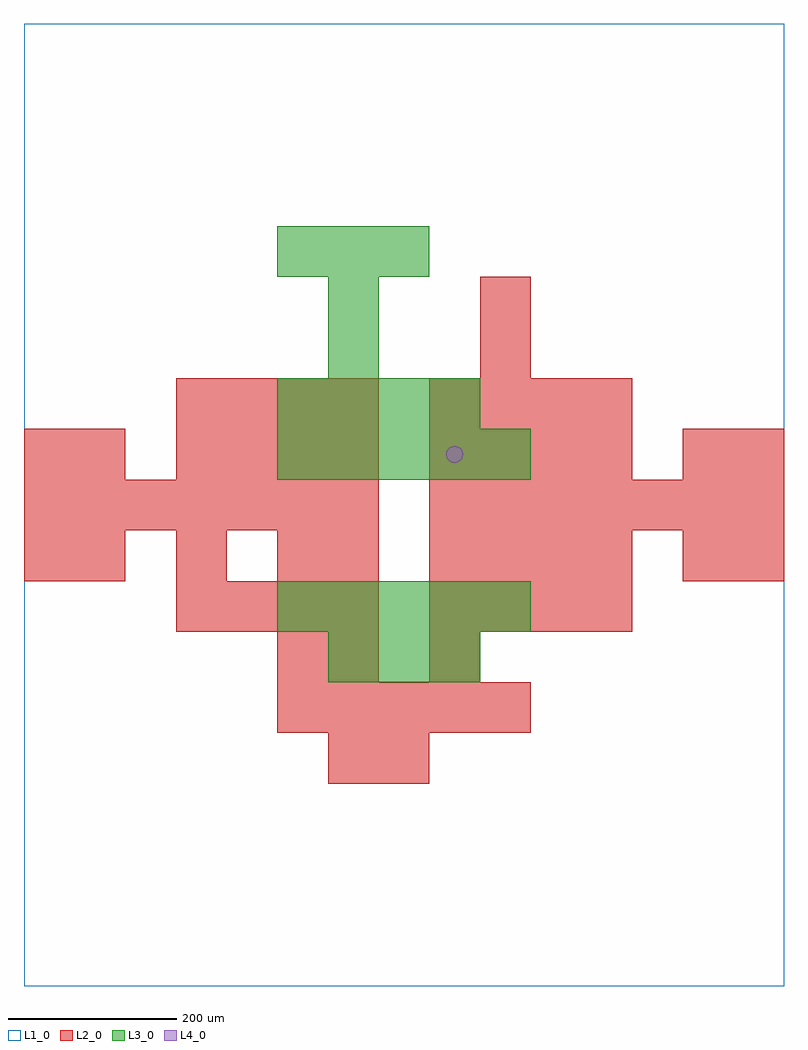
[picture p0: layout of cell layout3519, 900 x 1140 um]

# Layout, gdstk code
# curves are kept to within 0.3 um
import gdstk
lib = gdstk.Library(unit=1e-6, precision=1e-09)
def R(c, l, rs):  # rectangles x0, y0, x1, y1
    for r in rs: c.add(gdstk.rectangle(r[:2], r[2:], *l))
def A(c, l, x, y, w, h, nx, ny, dx, dy):  # array of equal rectangles
    R(c, l, [(x+i*dx, y+j*dy, x+i*dx+w, y+j*dy+h) for i in range(nx) for j in range(ny)])
def P(c, l, *ps):  # polygons
    for p in ps: c.add(gdstk.Polygon(p, *l))
L1_0 = (1, 0)
L2_0 = (2, 0)
L3_0 = (3, 0)
L4_0 = (4, 0)

layout3519 = lib.new_cell('layout3519')
R(layout3519, L1_0, [(0,0,900,1140)])
A(layout3519, L2_0, 360, 240, 60, 60, 1, 3, 0, 120)
A(layout3519, L2_0, 300, 300, 60, 60, 5, 1, 60, 0)
A(layout3519, L2_0, 180, 420, 60, 60, 4, 2, 60, 180)
A(layout3519, L2_0, 480, 420, 60, 60, 4, 2, 60, 60)
A(layout3519, L2_0, 60, 480, 60, 60, 3, 1, 120, 0)
A(layout3519, L2_0, 0, 540, 60, 60, 7, 1, 60, 0)
A(layout3519, L2_0, 480, 540, 60, 60, 7, 1, 60, 0)
A(layout3519, L2_0, 480, 600, 60, 60, 4, 2, 60, 60)
A(layout3519, L2_0, 180, 660, 60, 60, 4, 1, 60, 0)
R(layout3519, L2_0, [(420,240,480,300), (300,360,360,420), (480,360,540,420), (0,480,60,540), (780,480,840,540), (840,480,900,540), (0,600,60,660), (60,600,120,660), (780,600,840,660), (840,600,900,660), (540,720,600,780), (540,780,600,840)])
A(layout3519, L3_0, 360, 360, 60, 60, 3, 1, 60, 0)
A(layout3519, L3_0, 300, 420, 60, 60, 5, 2, 60, 180)
A(layout3519, L3_0, 300, 660, 60, 60, 4, 1, 60, 0)
A(layout3519, L3_0, 300, 840, 60, 60, 3, 1, 60, 0)
R(layout3519, L3_0, [(360,720,420,780), (360,780,420,840)])
P(layout3519, L4_0, [(520,630),(519.239,633.827),(517.071,637.071),(513.827,639.239),(510,640),(506.173,639.239),(502.929,637.071),(500.761,633.827),(500,630),(500.761,626.173),(502.929,622.929),(506.173,620.761),(510,620),(513.827,620.761),(517.071,622.929),(519.239,626.173)])

lib.write_gds('layout3519.gds')
